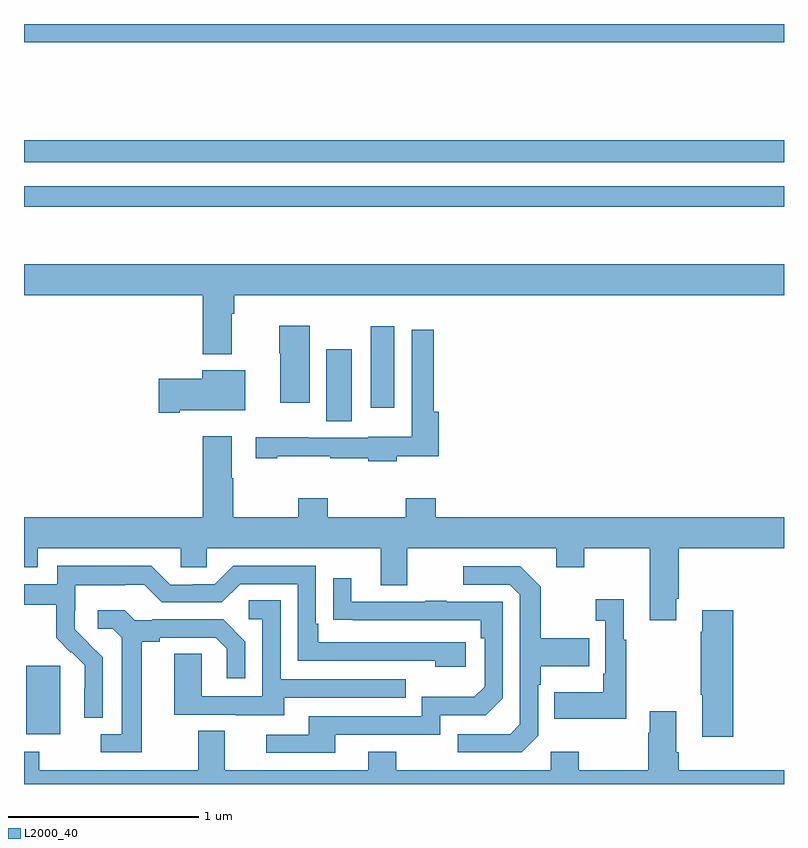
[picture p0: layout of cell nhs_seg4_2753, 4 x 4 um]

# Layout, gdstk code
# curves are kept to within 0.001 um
import gdstk
lib = gdstk.Library(unit=1e-6, precision=1e-09)
def R(c, l, rs):  # rectangles x0, y0, x1, y1
    for r in rs: c.add(gdstk.rectangle(r[:2], r[2:], *l))
def P(c, l, *ps):  # polygons
    for p in ps: c.add(gdstk.Polygon(p, *l))
L2000_40 = (2000, 40)

nhs_seg4_2753 = lib.new_cell('nhs_seg4_2753')
R(nhs_seg4_2753, L2000_40, [(255.011,809.162,255.19,809.523), (256.592,810.808,256.726,811.189), (256.826,810.879,256.948,811.309), (255,811.938,259,812.046), (255,812.172,259,812.288), (255,812.804,259,812.9)])
P(nhs_seg4_2753, L2000_40, [(256.093,811.376),(256.106,811.376),(256.106,811.472),(259,811.472),(259,811.636),(255,811.636),(255,811.472),(255.941,811.472),(255.941,811.163),(256.093,811.163)],
  [(256.504,811.312),(256.343,811.312),(256.343,811.167),(256.349,811.167),(256.349,810.906),(256.504,810.906)],
  [(256.962,810.626),(257.183,810.626),(257.183,810.859),(257.156,810.859),(257.156,811.291),(257.04,811.291),(257.04,810.727),(256.812,810.727),(256.812,810.723),(256.496,810.723),(256.496,810.725),(256.221,810.725),(256.221,810.615),(256.333,810.615),(256.333,810.625),(256.612,810.625),(256.612,810.615),(256.812,810.615),(256.812,810.598),(256.962,810.598)],
  [(255.82,810.866),(256.165,810.866),(256.165,811.078),(255.938,811.078),(255.938,811.032),(255.708,811.032),(255.708,810.854),(255.82,810.854)],
  [(258.433,809.875),(258.446,809.875),(258.446,810.14),(259,810.14),(259,810.304),(257.168,810.304),(257.168,810.403),(257.008,810.403),(257.008,810.304),(256.599,810.304),(256.599,810.403),(256.444,810.403),(256.444,810.304),(256.101,810.304),(256.101,810.509),(256.093,810.509),(256.093,810.73),(255.941,810.73),(255.941,810.304),(255,810.304),(255,810.041),(255.073,810.041),(255.073,810.14),(255.825,810.14),(255.825,810.042),(255.963,810.042),(255.963,810.14),(256.877,810.14),(256.877,809.946),(257.017,809.946),(257.017,810.14),(257.801,810.14),(257.801,810.041),(257.949,810.041),(257.949,810.14),(258.293,810.14),(258.293,809.763),(258.433,809.763)],
  [(255.414,809.566),(255.268,809.714),(255.268,809.811),(255.27,809.811),(255.27,809.945),(255.533,809.945),(255.533,809.949),(255.633,809.949),(255.726,809.856),(256.041,809.856),(256.137,809.952),(256.44,809.952),(256.44,809.55),(257.165,809.55),(257.165,809.516),(257.326,809.516),(257.326,809.646),(256.549,809.646),(256.549,809.743),(256.536,809.743),(256.536,810.048),(256.101,810.048),(256.005,809.952),(255.887,809.952),(255.887,809.949),(255.771,809.949),(255.671,810.049),(255.174,810.049),(255.174,809.952),(255,809.952),(255,809.844),(255.169,809.844),(255.169,809.669),(255.246,809.592),(255.249,809.595),(255.32,809.525),(255.32,809.402),(255.318,809.402),(255.318,809.248),(255.414,809.248)],
  [(257.706,809.154),(257.706,809.423),(257.719,809.423),(257.719,809.519),(257.975,809.519),(257.975,809.667),(257.719,809.667),(257.719,809.939),(257.613,810.045),(257.313,810.045),(257.313,809.949),(257.556,809.949),(257.61,809.895),(257.61,809.214),(257.559,809.163),(257.283,809.163),(257.283,809.067),(257.619,809.067)],
  [(256.639,809.16),(257.19,809.16),(257.19,809.262),(257.43,809.262),(257.52,809.352),(257.52,809.859),(257.225,809.859),(257.225,809.864),(257.113,809.864),(257.113,809.859),(256.723,809.859),(256.723,809.983),(256.627,809.983),(256.627,809.764),(257.404,809.763),(257.404,809.666),(257.424,809.666),(257.424,809.412),(257.371,809.359),(257.094,809.359),(257.094,809.256),(256.499,809.256),(256.499,809.16),(256.275,809.16),(256.275,809.064),(256.639,809.064)],
  [(258.169,809.659),(258.157,809.659),(258.157,809.872),(258.009,809.872),(258.009,809.759),(258.06,809.759),(258.06,809.479),(258.048,809.479),(258.048,809.383),(257.791,809.383),(257.791,809.243),(258.169,809.243)],
  [(256.369,809.355),(257.009,809.355),(257.009,809.451),(256.35,809.451),(256.35,809.867),(256.182,809.867),(256.182,809.766),(256.254,809.766),(256.254,809.361),(255.936,809.361),(255.936,809.585),(255.791,809.585),(255.791,809.265),(256.115,809.265),(256.115,809.261),(256.369,809.261)],
  [(258.732,809.815),(258.569,809.815),(258.569,809.702),(258.562,809.702),(258.562,809.371),(258.569,809.371),(258.569,809.148),(258.732,809.148)],
  [(255.619,809.648),(255.715,809.648),(255.715,809.67),(256.01,809.67),(256.067,809.613),(256.067,809.457),(256.164,809.457),(256.164,809.65),(256.048,809.766),(255.676,809.766),(255.676,809.763),(255.582,809.763),(255.53,809.815),(255.387,809.815),(255.387,809.718),(255.468,809.718),(255.515,809.671),(255.515,809.163),(255.405,809.163),(255.405,809.067),(255.619,809.067)],
  [(257.772,809.071),(257.772,808.972),(256.959,808.972),(256.959,809.071),(256.811,809.071),(256.811,808.972),(256.057,808.972),(256.057,809.18),(255.917,809.18),(255.917,808.972),(255.081,808.972),(255.081,809.071),(255,809.071),(255,808.9),(259,808.9),(259,808.972),(258.446,808.972),(258.446,809.068),(258.433,809.068),(258.433,809.284),(258.293,809.284),(258.293,809.171),(258.286,809.171),(258.286,808.972),(257.919,808.972),(257.919,809.071)])

lib.write_gds('nhs_seg4_2753.gds')
